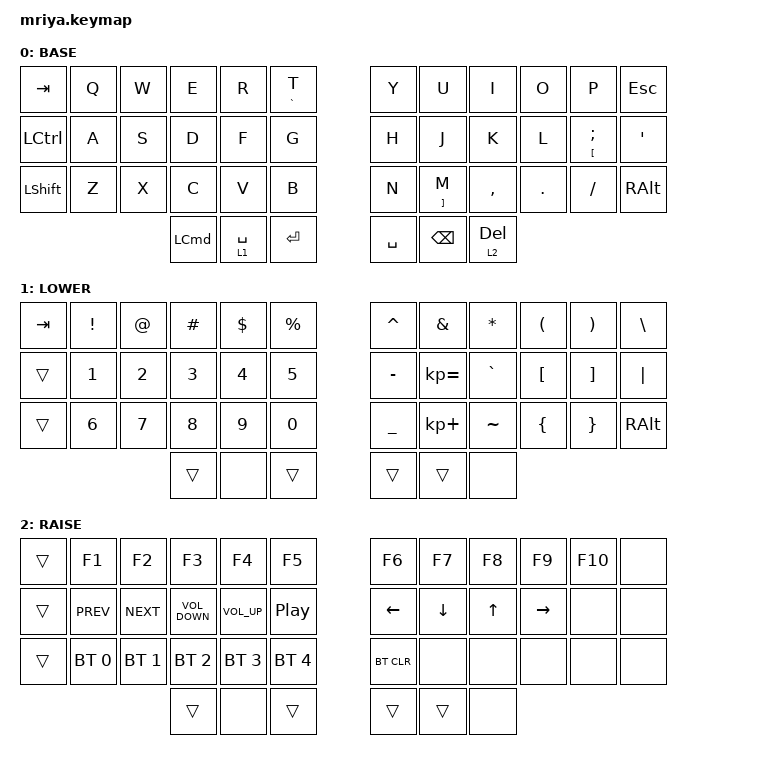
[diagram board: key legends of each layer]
/*
 * Copyright (c) 2020 The ZMK Contributors
 *
 * SPDX-License-Identifier: MIT
 */

#include <behaviors.dtsi>
#include <dt-bindings/zmk/bt.h>
#include <dt-bindings/zmk/keys.h>

#define BASE   0
#define LOWER  1
#define RAISE  2
#define ADJUST 3
#define NAVI   4

&lt {
    flavor = "balanced";
    tapping-term-ms = <220>;
    quick-tap-ms = <175>;
};

&mt {
    flavor = "balanced";
    tapping-term-ms = <280>;
    quick-tap-ms = <175>;
};

/ {
    macros {
        numdot: numdot {
            label = "ZM_numdot";
            compatible = "zmk,behavior-macro";
            #binding-cells = <0>;
            wait-ms = <40>;
            tap-ms = <40>;
            bindings =
                <&macro_press>,
                <&kp LALT>,
                <&macro_tap>,
                <&kp KP_N4 &kp KP_N6>,
                <&macro_release>,
                <&kp LALT>;
        };

        grtsgn: grtsgn {
            label = "ZM_grtsgn";
            compatible = "zmk,behavior-macro";
            #binding-cells = <0>;
            wait-ms = <40>;
            tap-ms = <40>;
            bindings =
                <&macro_press>,
                <&kp LALT>,
                <&macro_tap>,
                <&kp KP_N6 &kp KP_N2>,
                <&macro_release>,
                <&kp LALT>;
        };

        cprght: cprght {
            label = "ZM_cprght";
            compatible = "zmk,behavior-macro";
            #binding-cells = <0>;
            wait-ms = <40>;
            tap-ms = <40>;
            bindings =
                <&macro_press>,
                <&kp LALT>,
                <&macro_tap>,
                <&kp KP_N0 &kp KP_N1 &kp KP_N6 &kp KP_N9>,
                <&macro_release>,
                <&kp LALT>;
        };

        degree: degree {
            label = "ZM_degree";
            compatible = "zmk,behavior-macro";
            #binding-cells = <0>;
            wait-ms = <40>;
            tap-ms = <40>;
            bindings =
                <&macro_press>,
                <&kp LALT>,
                <&macro_tap>,
                <&kp KP_N0 &kp KP_N1 &kp KP_N7 &kp KP_N6>,
                <&macro_release>,
                <&kp LALT>;
        };

        quote: quote {
            label = "ZM_quote";
            compatible = "zmk,behavior-macro";
            #binding-cells = <0>;
            wait-ms = <40>;
            tap-ms = <40>;
            bindings =
                <&macro_press>,
                <&kp LALT>,
                <&macro_tap>,
                <&kp KP_N3 &kp KP_N4>,
                <&macro_release>,
                <&kp LALT>;
        };

        euro: euro {
            label = "ZM_euro";
            compatible = "zmk,behavior-macro";
            #binding-cells = <0>;
            wait-ms = <40>;
            tap-ms = <40>;
            bindings =
                <&macro_press>,
                <&kp LALT>,
                <&macro_tap>,
                <&kp KP_N0 &kp KP_N1 &kp KP_N2 &kp KP_N8>,
                <&macro_release>,
                <&kp LALT>;
        };

        numcomma: numcomma {
            label = "ZM_numcomma";
            compatible = "zmk,behavior-macro";
            #binding-cells = <0>;
            wait-ms = <40>;
            tap-ms = <40>;
            bindings =
                <&macro_press>,
                <&kp LALT>,
                <&macro_tap>,
                <&kp KP_N4 &kp KP_N4>,
                <&macro_release>,
                <&kp LALT>;
        };

        lguillement: lguillement {
            label = "ZM_lguillement";
            compatible = "zmk,behavior-macro";
            #binding-cells = <0>;
            wait-ms = <40>;
            tap-ms = <40>;
            bindings =
                <&macro_press>,
                <&kp LALT>,
                <&macro_tap>,
                <&kp KP_N0 &kp KP_N1 &kp KP_N7 &kp KP_N1>,
                <&macro_release>,
                <&kp LALT>;
        };

        rguillement: rguillement {
            label = "ZM_rguillement";
            compatible = "zmk,behavior-macro";
            #binding-cells = <0>;
            wait-ms = <40>;
            tap-ms = <40>;
            bindings =
                <&macro_press>,
                <&kp LALT>,
                <&macro_tap>,
                <&kp KP_N0 &kp KP_N1 &kp KP_N8 &kp KP_N7>,
                <&macro_release>,
                <&kp LALT>;
        };

        lbracket: lbracket {
            label = "ZM_lbracket";
            compatible = "zmk,behavior-macro";
            #binding-cells = <0>;
            wait-ms = <40>;
            tap-ms = <40>;
            bindings =
                <&macro_press>,
                <&kp LALT>,
                <&macro_tap>,
                <&kp KP_N1 &kp KP_N2 &kp KP_N3>,
                <&macro_release>,
                <&kp LALT>;
        };

        rbracket: rbracket {
            label = "ZM_rbracket";
            compatible = "zmk,behavior-macro";
            #binding-cells = <0>;
            wait-ms = <40>;
            tap-ms = <40>;
            bindings =
                <&macro_press>,
                <&kp LALT>,
                <&macro_tap>,
                <&kp KP_N1 &kp KP_N2 &kp KP_N5>,
                <&macro_release>,
                <&kp LALT>;
        };

        colon: colon {
            label = "ZM_colon";
            compatible = "zmk,behavior-macro";
            #binding-cells = <0>;
            wait-ms = <40>;
            tap-ms = <40>;
            bindings =
                <&macro_press>,
                <&kp LALT>,
                <&macro_tap>,
                <&kp KP_N5 &kp KP_N8>,
                <&macro_release>,
                <&kp LALT>;
        };

        semicolon: semicolon {
            label = "ZM_semicolon";
            compatible = "zmk,behavior-macro";
            #binding-cells = <0>;
            wait-ms = <40>;
            tap-ms = <40>;
            bindings =
                <&macro_press>,
                <&kp LALT>,
                <&macro_tap>,
                <&kp KP_N5 &kp KP_N9>,
                <&macro_release>,
                <&kp LALT>;
        };

        question: question {
            label = "ZM_question";
            compatible = "zmk,behavior-macro";
            #binding-cells = <0>;
            wait-ms = <40>;
            tap-ms = <40>;
            bindings =
                <&macro_press>,
                <&kp LALT>,
                <&macro_tap>,
                <&kp KP_N6 &kp KP_N3>,
                <&macro_release>,
                <&kp LALT>;
        };

        lsqbracket: lsqbracket {
            label = "ZM_lsqbracket";
            compatible = "zmk,behavior-macro";
            #binding-cells = <0>;
            wait-ms = <40>;
            tap-ms = <40>;
            bindings =
                <&macro_press>,
                <&kp LALT>,
                <&macro_tap>,
                <&kp KP_N9 &kp KP_N1>,
                <&macro_release>,
                <&kp LALT>;
        };

        rsqbracket: rsqbracket {
            label = "ZM_rsqbracket";
            compatible = "zmk,behavior-macro";
            #binding-cells = <0>;
            wait-ms = <40>;
            tap-ms = <40>;
            bindings =
                <&macro_press>,
                <&kp LALT>,
                <&macro_tap>,
                <&kp KP_N9 &kp KP_N3>,
                <&macro_release>,
                <&kp LALT>;
        };
    };
};

/ {
    combos {
        compatible = "zmk,combos";

        combo_grave {
            timeout-ms = <50>;
            key-positions = <4 5>;
            bindings = <&kp GRAVE>;
        };

        combo_esc_right {
            timeout-ms = <50>;
            key-positions = <31 32>;
            bindings = <&kp ESC>;
        };

        combo_comma {
            timeout-ms = <50>;
            key-positions = <15 16>;
            bindings = <&numcomma>;
        };

        combo_dot {
            timeout-ms = <50>;
            key-positions = <19 20>;
            bindings = <&numdot>;
        };

        combo_esc_left {
            timeout-ms = <50>;
            key-positions = <27 28>;
            bindings = <&kp ESC>;
        };

        combo_equal {
            timeout-ms = <50>;
            key-positions = <3 4>;
            bindings = <&kp EQUAL>;
        };

        combo_lsqbracket {
            timeout-ms = <50>;
            key-positions = <20 21>;
            bindings = <&lsqbracket>;
        };

        combo_rsqbracket {
            timeout-ms = <50>;
            key-positions = <32 33>;
            bindings = <&rsqbracket>;
        };

        combo_numcomma {
            timeout-ms = <50>;
            key-positions = <31 32>;
            bindings = <&numcomma>;
        };

        combo_copy {
            timeout-ms = <50>;
            key-positions = <26 27>;
            bindings = <&kp LC(C)>;
        };

        combo_cut {
            timeout-ms = <50>;
            key-positions = <2 3>;
            bindings = <&kp LC(X)>;
        };

        combo_paste {
            timeout-ms = <50>;
            key-positions = <14 15>;
            bindings = <&kp LC(V)>;
        };
    };
};

/ {
    behaviors {
        ht_ye: ht_ye {
            compatible = "zmk,behavior-hold-tap";
            label = "HT_YE";
            bindings = <&kp>, <&kp>;

            #binding-cells = <2>;
            tapping-term-ms = <200>;
            quick-tap-ms = <175>;
            flavor = "tap-preferred";
        };

        td_zh: td_zh {
            compatible = "zmk,behavior-tap-dance";
            label = "TD_ZH";
            #binding-cells = <0>;
            tapping-term-ms = <200>;
            bindings = <&kp SEMI>, <&kp LBKT>;
        };
    };

    keymap {
        compatible = "zmk,keymap";

        // ▄▄▄▄▄▄▄▄▄▄▄▄▄▄▄▄▄▄▄▄▄▄▄▄▄▄▄▄▄▄▄▄▄▄▄▄▄▄▄▄▄▄▄▄▄▄▄▄▄▄▄▄▄▄▄▄▄▄▄▄▄▄▄▄▄▄▄▄▄▄▄▄▄▄▄▄▄▄▄▄▄▄▄▄▄▄▄▄▄▄▄▄▄▄▄▄▄▄▄▄▄▄▄▄▄▄▄▄▄▄▄▄▄▄

        base_layer {
            // ┌────────────────────────────────────────────┐

            label = "BASE";

            // └────────────────────────────────────────────┘
            /*
┌───────┬───────┬───────┬───────┬───────┬───────┐                   ┌───────┬───────┬───────┬───────┬───────┬───────┐
│   ]   │   Q   │   W   │   E   │   R   │   T   │                   │   Y   │   U   │   I   │   O   │   P   │   [   │
├───────┼───────┼───────┼───────┼───────┼───────┤                   ├───────┼───────┼───────┼───────┼───────┼───────┤                      
│   `   │   A   │   S   │   D   │   F   │   G   │                   │   H   │   J   │   K   │   L   │   ;   │   '   │
├───────┼───────┼───────┼───────┼───────┼───────┤                   ├───────┼───────┼───────┼───────┼───────┼───────┤
│   \   │ Z/NAV │   X   │   C   │   V   │   B   │                   │   N   │   M   │   ,   │   .   │   /   │   -   │
└───────┴───────┴───────┴───────┼───────┼───────┼───────┐   ┌───────┼───────┼───────┼───────┴───────┴───────┴───────┘
                                │ RAISE │ SPACE │ LOWER │   │ LOWER │  BKSP │ RAISE │
                                └───────┴───────┴───────┘   └───────┴───────┴───────┘   
*/

            bindings = <
&kp TAB         &kp Q  &kp W  &kp E  &kp R             &ht_ye GRAVE T                        &kp Y          &kp U          &kp I      &kp O    &kp P             &kp ESC
&kp LCTRL       &kp A  &kp S  &kp D  &kp F             &kp G                                 &kp H          &kp J          &kp K      &kp L    &ht_ye LBKT SEMI  &kp SQT
&kp LEFT_SHIFT  &kp Z  &kp X  &kp C  &kp V             &kp B                                 &kp N          &ht_ye RBKT M  &kp COMMA  &kp DOT  &kp FSLH          &kp RIGHT_ALT
                                     &kp LEFT_COMMAND  &lt 1 SPACE     &kp ENTER  &kp SPACE  &kp BACKSPACE  &lt 2 DEL
            >;
        };

        // ▄▄▄▄▄▄▄▄▄▄▄▄▄▄▄▄▄▄▄▄▄▄▄▄▄▄▄▄▄▄▄▄▄▄▄▄▄▄▄▄▄▄▄▄▄▄▄▄▄▄▄▄▄▄▄▄▄▄▄▄▄▄▄▄▄▄▄▄▄▄▄▄▄▄▄▄▄▄▄▄▄▄▄▄▄▄▄▄▄▄▄▄▄▄▄▄▄▄▄▄▄▄▄▄▄▄▄▄▄▄▄▄▄▄

        lower_layer {
            // ┌────────────────────────────────────────────┐

            label = "LOWER";

            // └────────────────────────────────────────────┘
            /*
┌───────┬───────┬───────┬───────┬───────┬───────┐                   ┌───────┬───────┬───────┬───────┬───────┬───────┐
│ CAPS  │  F10  │  F9   │  F8   │  F7   │   ~   │                   │   !   │   @   │   #   │   $   │   %   │ RGUI  │
├───────┼───────┼───────┼───────┼───────┼───────┤                   ├───────┼───────┼───────┼───────┼───────┼───────┤                      
│ CTRL  │  F11  │  F3   │  F2   │  F1   │ MENU  │                   │   :   │   ?   │   *   │   (   │   )   │   &   │
├───────┼───────┼───────┼───────┼───────┼───────┤                   ├───────┼───────┼───────┼───────┼───────┼───────┤
│ LALT  │  F12  │  F6   │  F5   │  F4   │ LANG  │                   │   \   │   «   │   »   │   {   │   }   │   ^   │
└───────┴───────┴───────┴───────┼───────┼───────┼───────┐   ┌───────┼───────┼───────┼───────┴───────┴───────┴───────┘
                                │  ADJ  │ LSHFT │   ▼   │   │   ▼   │ RSHFT │  ADJ  │
                                └───────┴───────┴───────┘   └───────┴───────┴───────┘   
*/

            bindings = <
&kp TAB  &kp EXCL      &kp AT_SIGN   &kp POUND     &kp DOLLAR    &kp PERCENT                   &kp CARET       &kp AMPERSAND  &kp ASTERISK  &kp LEFT_PARENTHESIS  &kp RIGHT_PARENTHESIS  &kp BSLH
&trans   &kp NUMBER_1  &kp NUMBER_2  &kp NUMBER_3  &kp NUMBER_4  &kp NUMBER_5                  &kp MINUS       &kp KP_EQUAL   &kp GRAVE     &kp LBKT              &kp RBKT               &kp PIPE
&trans   &kp NUMBER_6  &kp NUMBER_7  &kp NUMBER_8  &kp N9        &kp NUMBER_0                  &kp UNDERSCORE  &kp KP_PLUS    &kp TILDE     &kp LEFT_BRACE        &kp RIGHT_BRACE        &kp RIGHT_ALT
                                                   &trans        &none         &trans  &trans  &trans          &none
            >;
        };

        // ▄▄▄▄▄▄▄▄▄▄▄▄▄▄▄▄▄▄▄▄▄▄▄▄▄▄▄▄▄▄▄▄▄▄▄▄▄▄▄▄▄▄▄▄▄▄▄▄▄▄▄▄▄▄▄▄▄▄▄▄▄▄▄▄▄▄▄▄▄▄▄▄▄▄▄▄▄▄▄▄▄▄▄▄▄▄▄▄▄▄▄▄▄▄▄▄▄▄▄▄▄▄▄▄▄▄▄▄▄▄▄▄▄▄		

        raise_layer {
            // ┌────────────────────────────────────────────┐

            label = "RAISE";

            // └────────────────────────────────────────────┘
            /*
┌───────┬───────┬───────┬───────┬───────┬───────┐                   ┌───────┬───────┬───────┬───────┬───────┬───────┐
│ BKSP  │   *   │   9   │   8   │   7   │   +   │                   │ NEXT  │ VOLU  │ PSCRN │       │       │ RGUI  │
├───────┼───────┼───────┼───────┼───────┼───────┤                   ├───────┼───────┼───────┼───────┼───────┼───────┤                      
│ CTRL  │   /   │   3   │   2   │   1   │   0   │                   │ PLAY  │ VOLD  │       │       │       │ CTRL  │
├───────┼───────┼───────┼───────┼───────┼───────┤                   ├───────┼───────┼───────┼───────┼───────┼───────┤
│ ALT/= │   .   │   6   │   5   │   4   │   -   │                   │ PREV  │ MUTE  │       │       │       │ RALT  │
└───────┴───────┴───────┴───────┼───────┼───────┼───────┐   ┌───────┼───────┼───────┼───────┴───────┴───────┴───────┘
                                │   ▲   │ LSHFT │  ADJ  │   │  ADJ  │ RSHFT │   ▲   │
                                └───────┴───────┴───────┘   └───────┴───────┴───────┘  
*/

            bindings = <
&trans  &kp F1        &kp F2        &kp F3             &kp F4           &kp F5                            &kp F6          &kp F7          &kp F8        &kp F9     &kp F10  &none
&trans  &kp K_PREV    &kp K_NEXT    &kp C_VOLUME_DOWN  &kp C_VOLUME_UP  &kp C_PLAY_PAUSE                  &kp LEFT_ARROW  &kp DOWN_ARROW  &kp UP_ARROW  &kp RIGHT  &none    &none
&trans  &bt BT_SEL 0  &bt BT_SEL 1  &bt BT_SEL 2       &bt BT_SEL 3     &bt BT_SEL 4                      &bt BT_CLR      &none           &none         &none      &none    &none
                                                       &trans           &none             &trans  &trans  &trans          &none
            >;
        };

        // ▄▄▄▄▄▄▄▄▄▄▄▄▄▄▄▄▄▄▄▄▄▄▄▄▄▄▄▄▄▄▄▄▄▄▄▄▄▄▄▄▄▄▄▄▄▄▄▄▄▄▄▄▄▄▄▄▄▄▄▄▄▄▄▄▄▄▄▄▄▄▄▄▄▄▄▄▄▄▄▄▄▄▄▄▄▄▄▄▄▄▄▄▄▄▄▄▄▄▄▄▄▄▄▄▄▄▄▄▄▄▄▄▄▄
        // ▄▄▄▄▄▄▄▄▄▄▄▄▄▄▄▄▄▄▄▄▄▄▄▄▄▄▄▄▄▄▄▄▄▄▄▄▄▄▄▄▄▄▄▄▄▄▄▄▄▄▄▄▄▄▄▄▄▄▄▄▄▄▄▄▄▄▄▄▄▄▄▄▄▄▄▄▄▄▄▄▄▄▄▄▄▄▄▄▄▄▄▄▄▄▄▄▄▄▄▄▄▄▄▄▄▄▄▄▄▄▄▄▄▄		
    };
};
